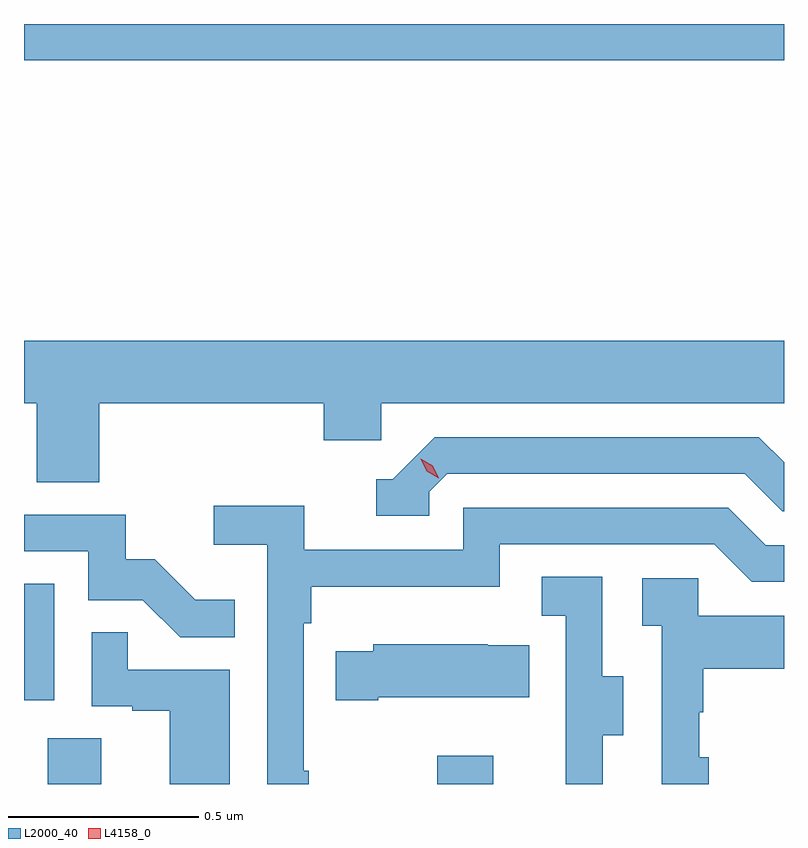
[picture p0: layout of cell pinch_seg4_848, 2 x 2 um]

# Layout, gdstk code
import gdstk
lib = gdstk.Library(unit=1e-6, precision=1e-09)
def R(c, l, rs):  # rectangles x0, y0, x1, y1
    for r in rs: c.add(gdstk.rectangle(r[:2], r[2:], *l))
def P(c, l, *ps):  # polygons
    for p in ps: c.add(gdstk.Polygon(p, *l))
L2000_40 = (2000, 40)
L4158_0 = (4158, 0)

pinch_seg4_848 = lib.new_cell('pinch_seg4_848')
R(pinch_seg4_848, L2000_40, [(856.553,809.138,856.693,809.258), (857.578,809.138,857.725,809.212), (856.49,809.358,856.57,809.665), (856.49,811.042,858.49,811.138)])
P(pinch_seg4_848, L2000_40, [(856.688,810.14),(857.279,810.14),(857.279,810.042),(857.43,810.042),(857.43,810.14),(858.49,810.14),(858.49,810.304),(856.49,810.304),(856.49,810.14),(856.523,810.14),(856.523,809.932),(856.688,809.932)],
  [(857.556,809.907),(857.604,809.955),(858.387,809.955),(858.486,809.856),(858.49,809.856),(858.49,809.985),(858.424,810.051),(857.571,810.051),(857.46,809.94),(857.417,809.94),(857.417,809.844),(857.556,809.844)],
  [(857.239,809.173),(857.226,809.173),(857.226,809.561),(857.246,809.561),(857.246,809.657),(857.742,809.657),(857.742,809.769),(858.306,809.769),(858.405,809.67),(858.49,809.67),(858.49,809.766),(858.442,809.766),(858.343,809.865),(857.646,809.865),(857.646,809.754),(857.228,809.754),(857.228,809.87),(856.989,809.87),(856.989,809.768),(857.13,809.768),(857.13,809.138),(857.239,809.138)],
  [(857.045,809.623),(856.941,809.623),(856.834,809.73),(856.758,809.73),(856.758,809.847),(856.49,809.847),(856.49,809.751),(856.659,809.751),(856.659,809.622),(856.803,809.622),(856.901,809.524),(857.045,809.524)],
  [(858.013,809.266),(858.067,809.266),(858.067,809.421),(858.012,809.421),(858.012,809.684),(857.853,809.684),(857.853,809.581),(857.916,809.581),(857.916,809.277),(857.915,809.277),(857.915,809.138),(858.013,809.138)],
  [(858.292,809.208),(858.267,809.208),(858.267,809.327),(858.277,809.327),(858.277,809.441),(858.49,809.441),(858.49,809.581),(858.264,809.581),(858.264,809.679),(858.117,809.679),(858.117,809.555),(858.168,809.555),(858.168,809.138),(858.292,809.138)],
  [(857.032,809.439),(856.763,809.439),(856.763,809.537),(856.668,809.537),(856.668,809.343),(856.775,809.343),(856.775,809.331),(856.874,809.331),(856.874,809.138),(857.032,809.138)],
  [(857.422,809.366),(857.819,809.366),(857.819,809.503),(857.711,809.503),(857.711,809.506),(857.409,809.506),(857.409,809.488),(857.311,809.488),(857.311,809.359),(857.422,809.359)])
P(pinch_seg4_848, L4158_0, [(857.581,809.942),(857.55,809.961),(857.534,809.993),(857.534,809.994),(857.534,809.994),(857.565,809.975),(857.581,809.943),(857.581,809.942)])

lib.write_gds('pinch_seg4_848.gds')
